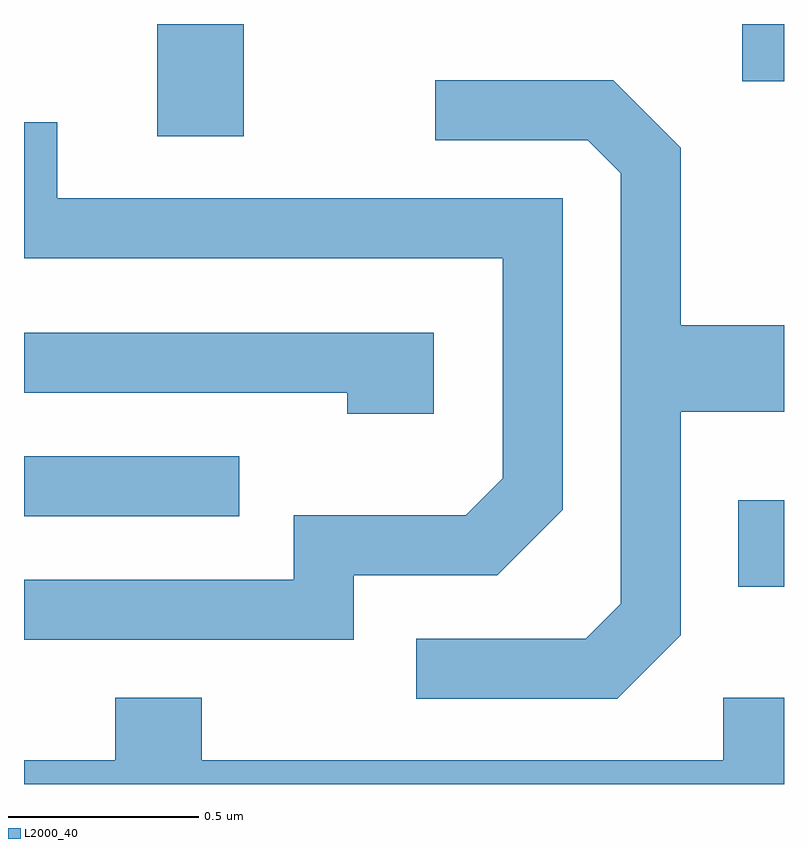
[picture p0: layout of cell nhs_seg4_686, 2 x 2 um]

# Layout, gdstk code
import gdstk
lib = gdstk.Library(unit=1e-6, precision=1e-09)
def R(c, l, rs):  # rectangles x0, y0, x1, y1
    for r in rs: c.add(gdstk.rectangle(r[:2], r[2:], *l))
def P(c, l, *ps):  # polygons
    for p in ps: c.add(gdstk.Polygon(p, *l))
L2000_40 = (2000, 40)

nhs_seg4_686 = lib.new_cell('nhs_seg4_686')
R(nhs_seg4_686, L2000_40, [(192.491,1255.501,192.611,1255.729), (190.611,1255.686,191.178,1255.844), (190.961,1256.686,191.189,1256.982), (192.501,1256.831,192.611,1256.982)])
P(nhs_seg4_686, L2000_40, [(192.339,1255.374),(192.339,1255.961),(192.611,1255.961),(192.611,1256.189),(192.339,1256.189),(192.339,1256.657),(192.162,1256.834),(191.693,1256.834),(191.693,1256.676),(192.094,1256.676),(192.181,1256.589),(192.181,1255.457),(192.089,1255.364),(191.643,1255.364),(191.643,1255.206),(192.172,1255.206)],
  [(191.479,1255.531),(191.857,1255.531),(192.029,1255.704),(192.029,1256.524),(190.699,1256.524),(190.699,1256.723),(190.611,1256.723),(190.611,1256.366),(191.871,1256.366),(191.871,1255.787),(191.774,1255.689),(191.321,1255.689),(191.321,1255.519),(190.611,1255.519),(190.611,1255.361),(191.479,1255.361)],
  [(191.689,1256.169),(190.611,1256.169),(190.611,1256.011),(191.461,1256.011),(191.461,1255.956),(191.689,1255.956)],
  [(192.611,1255.209),(192.451,1255.209),(192.451,1255.044),(191.079,1255.044),(191.079,1255.209),(190.851,1255.209),(190.851,1255.044),(190.611,1255.044),(190.611,1254.982),(192.611,1254.982)])

lib.write_gds('nhs_seg4_686.gds')
